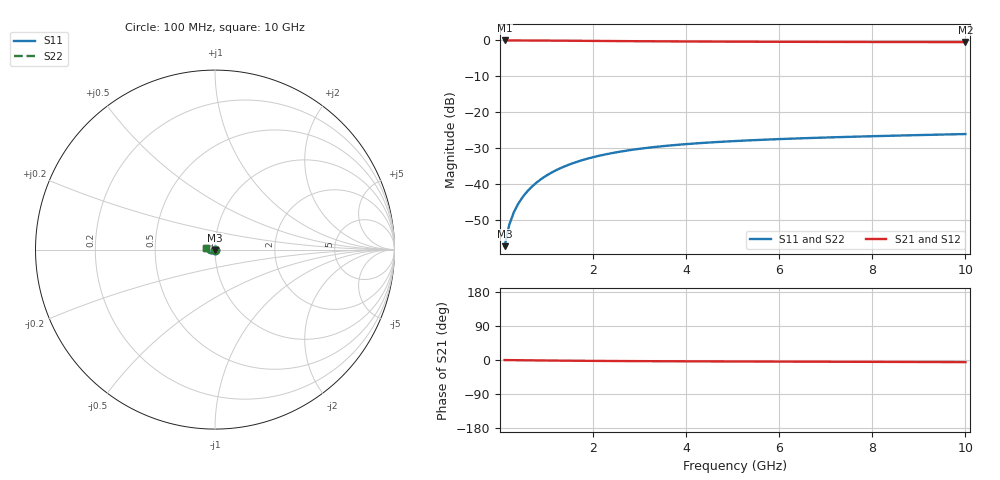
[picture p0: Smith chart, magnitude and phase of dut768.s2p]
! Touchstone file exported from HFSS 2024.1.0
!  File:  C:/UserFiles/LocalFiles/RDL_TSV_Batchsim/temp_TSV1_768_1779873168.aedt
!  Generated:  05:22:59 PM May 27, 2026
!  Design:  TSV1
!  Project:  temp_TSV1_768_1779873168
!  Setup:  Setup1
!  Solution:  Sweep
! Variables:
!  dtsv = 10.87um
!  hbump = 3um
!  htsv = 86.71um
!  lrdl = 252.1521522um
!  p = 40
!  p1 = 57.75um
!  t = 500um
!  trdl = 3um
!  wrdl = 24.89489489um
# GHz S MA R 50.000000
! Terminal data exported
! Port[1] = TSV22_T1
! Port[2] = TSV22_T2
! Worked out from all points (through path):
!   100 points, 100 MHz to 10 GHz, reference 50 ohm
!   highest |S21| = 0.00 dB at 100 MHz (marker M1); lowest = -0.5 dB at 10 GHz (marker M2)
!   lowest |S11| = -57.3 dB at 100 MHz (marker M3), VSWR 1.00, Z = 50 - j0.137 ohm
!   |S11| at or under -10 dB: start of sweep to end of sweep
!   |S22| runs from -57.3 to -26.1 dB; largest |S21 - S12| = 5.1e-15
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0.1  0.001368 -86.7  0.9998 -0.1  0.9998 -0.1  0.001368 -86.7
! Gamma 0 0 0 0
! Port Impedance 50 0 50 0
0.2  0.002726 -91.2  0.9997 -0.3  0.9997 -0.3  0.002726 -91.2
0.3  0.004083 -94.0  0.9994 -0.4  0.9994 -0.4  0.004083 -94.0
0.4  0.005434 -96.4  0.9991 -0.6  0.9991 -0.6  0.005434 -96.4
0.5  0.006773 -98.7  0.9986 -0.7  0.9986 -0.7  0.006773 -98.7
0.6  0.008097 -100.8  0.9981 -0.8  0.9981 -0.8  0.008097 -100.8
0.7  0.009401 -102.9  0.9975 -1.0  0.9975 -1.0  0.009401 -102.9
0.8  0.01068 -105.0  0.9969 -1.1  0.9969 -1.1  0.01068 -105.0
0.9  0.01194 -107.0  0.9961 -1.2  0.9961 -1.2  0.01194 -107.0
1.1  0.01437 -110.9  0.9945 -1.4  0.9945 -1.4  0.01437 -110.9
1.4  0.01778 -116.4  0.9918 -1.8  0.9918 -1.8  0.01778 -116.4
1.6  0.01988 -119.9  0.9898 -2.0  0.9898 -2.0  0.01988 -119.9
1.8  0.02185 -123.3  0.9877 -2.2  0.9877 -2.2  0.02185 -123.3
2.1  0.02455 -128.1  0.9846 -2.4  0.9846 -2.4  0.02455 -128.1
2.5  0.0277 -133.9  0.9806 -2.7  0.9806 -2.7  0.0277 -133.9
2.9  0.03041 -139.3  0.9768 -2.9  0.9768 -2.9  0.03041 -139.3
3.4  0.03325 -145.3  0.9724 -3.2  0.9724 -3.2  0.03325 -145.3
4.2  0.03684 -153.6  0.9667 -3.5  0.9667 -3.5  0.03684 -153.6
5.1  0.0399 -161.5  0.9616 -3.9  0.9616 -3.9  0.0399 -161.5
6.7  0.0439 -172.9  0.9554 -4.4  0.9554 -4.4  0.0439 -172.9
8.4  0.04713 177.4  0.9511 -5.0  0.9511 -5.0  0.04713 177.4
10  0.04977 169.7  0.9484 -5.6  0.9484 -5.6  0.04977 169.7
